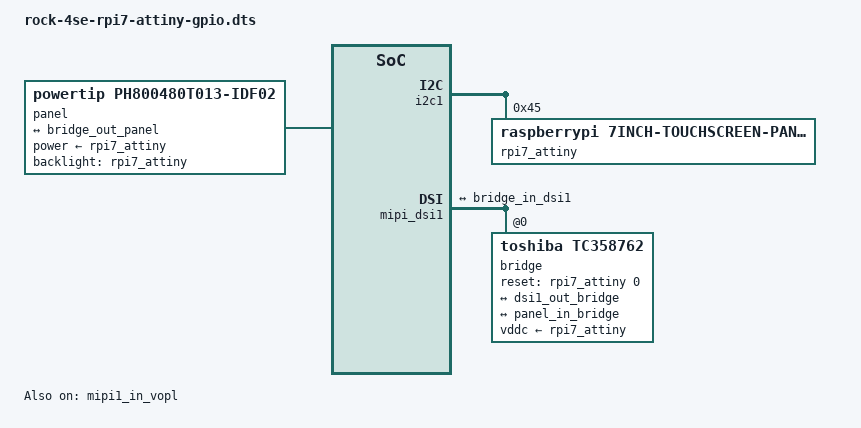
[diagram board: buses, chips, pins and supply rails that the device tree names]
// SPDX-License-Identifier: (GPL-2.0+ OR MIT)
/*
 * Raspberry Pi 7" / DFR0678 touchscreen on the Radxa ROCK 4SE, mainline-style
 * ATTiny handling with Radxa's bridge setup.
 *
 * The mainline ATTiny regulator driver exposes the bridge/LCD reset line as a
 * GPIO (RST_BRIDGE_N). Mainline's tc358762 releases it from pre_enable only if
 * the bridge has a reset-gpios property, which none of the earlier overlays
 * had, so the bridge and LCD controller may have stayed in reset. This
 * overlay wires it up (gpio flag 0 = active high: logical 1 releases reset).
 *
 * Needs the kernel patches rk3399-dsi1-dsi0-pll, dsi-lane-rate-override,
 * dfr0678-radxa-timing and tc358762-rpi7-radxa-bringup, and no other overlay
 * touching I2C1 address 0x45.
 */

/dts-v1/;
/plugin/;

&{/} {
	panel {
		compatible = "powertip,ph800480t013-idf02";
		power-supply = <&rpi7_attiny>;
		backlight = <&rpi7_attiny>;

		port {
			panel_in_bridge: endpoint {
				remote-endpoint = <&bridge_out_panel>;
			};
		};
	};
};

&i2c1 {
	#address-cells = <1>;
	#size-cells = <0>;
	status = "okay";

	rpi7_attiny: regulator@45 {
		compatible = "raspberrypi,7inch-touchscreen-panel-regulator";
		reg = <0x45>;
		gpio-controller;
		#gpio-cells = <2>;
	};
};

&mipi1_in_vopb {
	status = "disabled";
};

&mipi1_in_vopl {
	status = "okay";
};

&mipi_dsi1 {
	#address-cells = <1>;
	#size-cells = <0>;
	status = "okay";

	/* DSI0 supplies the shared PHY PLL while staying disabled */
	rockchip,dsi-dsi0 = <&mipi_dsi>;
	rockchip,lane-rate = <696>;

	bridge@0 {
		compatible = "toshiba,tc358762";
		reg = <0>;
		vddc-supply = <&rpi7_attiny>;
		reset-gpios = <&rpi7_attiny 0 0>;

		toshiba,radxa-rpi7-init;

		ports {
			#address-cells = <1>;
			#size-cells = <0>;

			port@0 {
				reg = <0>;

				bridge_in_dsi1: endpoint {
					remote-endpoint = <&dsi1_out_bridge>;
				};
			};

			port@1 {
				reg = <1>;

				bridge_out_panel: endpoint {
					remote-endpoint = <&panel_in_bridge>;
				};
			};
		};
	};

	ports {
		#address-cells = <1>;
		#size-cells = <0>;

		port@1 {
			reg = <1>;

			dsi1_out_bridge: endpoint {
				remote-endpoint = <&bridge_in_dsi1>;
			};
		};
	};
};
